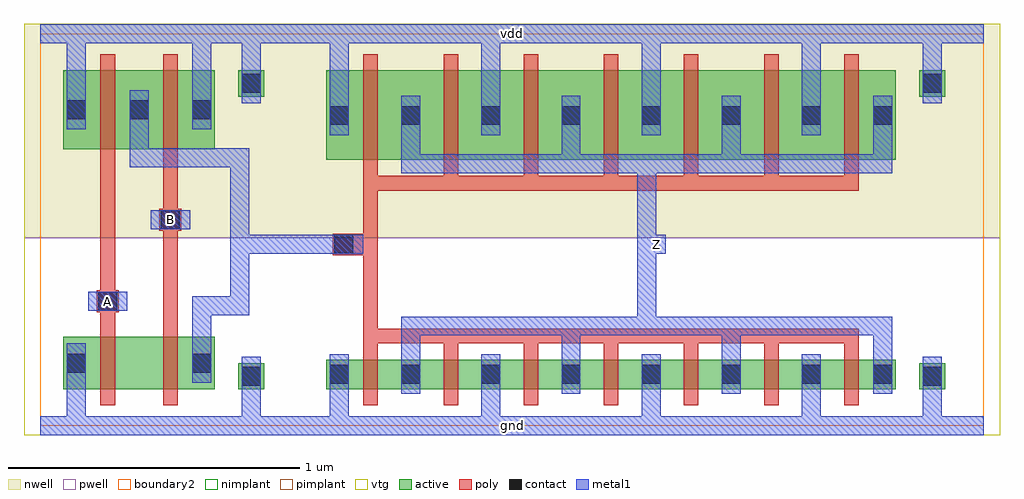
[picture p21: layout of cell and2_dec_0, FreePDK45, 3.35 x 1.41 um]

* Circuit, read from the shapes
.subckt and2_dec_0 A B Z gnd vdd
M1 pnand2_0/nmos_m1_w0_180_sm1_dactive_2/D A gnd gnd nfet w=0.18u l=0.05u
M2 pinv_0_1/A B pnand2_0/nmos_m1_w0_180_sm1_dactive_2/D gnd nfet w=0.18u l=0.05u
M3 Z pinv_0_1/A gnd gnd nfet w=0.1025u l=0.05u m=7
M4 pinv_0_1/A A vdd vdd pfet w=0.27u l=0.05u
M5 vdd B pinv_0_1/A vdd pfet w=0.27u l=0.05u
M6 Z pinv_0_1/A vdd vdd pfet w=0.3075u l=0.05u m=7
.ends

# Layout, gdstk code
import gdstk
lib = gdstk.Library(unit=1e-6, precision=5e-10)
def R(c, l, rs):  # rectangles x0, y0, x1, y1
    for r in rs: c.add(gdstk.rectangle(r[:2], r[2:], *l))
def A(c, l, x, y, w, h, nx, ny, dx, dy):  # array of equal rectangles
    R(c, l, [(x+i*dx, y+j*dy, x+i*dx+w, y+j*dy+h) for i in range(nx) for j in range(ny)])
active = (1, 0)
pwell = (2, 0)
nwell = (3, 0)
nimplant = (4, 0)
pimplant = (5, 0)
vtg = (6, 0)
poly = (9, 0)
contact = (10, 0)
metal1 = (11, 0)
boundary2 = (239, 0)

contact_10 = lib.new_cell('contact_10')
R(contact_10, active, [(0,0.0225,0.09,0.1125)])
R(contact_10, nwell, [(-0.055,-0.0325,0.145,0.1675)])
R(contact_10, pimplant, [(0,0.0225,0.09,0.1125)])
R(contact_10, contact, [(0.0125,0.035,0.0775,0.1)])
R(contact_10, metal1, [(0.0125,0,0.0775,0.135)])
R(contact_10, boundary2, [(-0.055,-0.0325,0.145,0.1675)])

pmos_m1_w0_270_sm1_dm1 = lib.new_cell('pmos_m1_w0_270_sm1_dm1')
R(pmos_m1_w0_270_sm1_dm1, active, [(0,0,0.305,0.27)])
R(pmos_m1_w0_270_sm1_dm1, nwell, [(-0.08,-0.08,0.385,0.35)])
R(pmos_m1_w0_270_sm1_dm1, pimplant, [(0,0,0.305,0.27)])
R(pmos_m1_w0_270_sm1_dm1, vtg, [(-0.08,-0.08,0.385,0.35)])
R(pmos_m1_w0_270_sm1_dm1, poly, [(0.1275,-0.055,0.1775,0.325), (0.1275,-0.055,0.1775,0.325)])
R(pmos_m1_w0_270_sm1_dm1, metal1, [(0.0125,0.0675,0.0775,0.2025), (0.2275,0.0675,0.2925,0.2025)])
R(pmos_m1_w0_270_sm1_dm1, boundary2, [(-0.08,-0.08,0.385,0.35)])
pmos_m1_w0_270_sm1_dm1.add(gdstk.Reference(contact_10, (0,0.0675)))
pmos_m1_w0_270_sm1_dm1.add(gdstk.Reference(contact_10, (0.215,0.0675)))
pmos_m1_w0_270_sm1_dm1.add(gdstk.Label('S', (0.045,0.135), layer=11, texttype=0))
pmos_m1_w0_270_sm1_dm1.add(gdstk.Label('D', (0.26,0.135), layer=11, texttype=0))
pmos_m1_w0_270_sm1_dm1.add(gdstk.Label('G', (0.1525,0.135), layer=9, texttype=0))

contact_9 = lib.new_cell('contact_9')
R(contact_9, active, [(0,0.0225,0.09,0.1125)])
R(contact_9, pwell, [(-0.055,-0.0325,0.145,0.1675)])
R(contact_9, nimplant, [(0,0.0225,0.09,0.1125)])
R(contact_9, contact, [(0.0125,0.035,0.0775,0.1)])
R(contact_9, metal1, [(0.0125,0,0.0775,0.135)])
R(contact_9, boundary2, [(-0.055,-0.0325,0.145,0.1675)])

nmos_m1_w0_180_sm1_dacti = lib.new_cell('nmos_m1_w0_180_sm1_dactive')
R(nmos_m1_w0_180_sm1_dacti, active, [(0,0,0.305,0.18), (0.215,0.045,0.305,0.135)])
R(nmos_m1_w0_180_sm1_dacti, pwell, [(-0.08,-0.08,0.385,0.26)])
R(nmos_m1_w0_180_sm1_dacti, nimplant, [(0,0,0.305,0.18)])
R(nmos_m1_w0_180_sm1_dacti, vtg, [(-0.08,-0.08,0.385,0.26)])
R(nmos_m1_w0_180_sm1_dacti, poly, [(0.1275,-0.055,0.1775,0.235), (0.1275,-0.055,0.1775,0.235)])
R(nmos_m1_w0_180_sm1_dacti, metal1, [(0.0125,0.0225,0.0775,0.1575)])
R(nmos_m1_w0_180_sm1_dacti, boundary2, [(-0.08,-0.08,0.385,0.26)])
nmos_m1_w0_180_sm1_dacti.add(gdstk.Reference(contact_9, (0,0.0225)))
nmos_m1_w0_180_sm1_dacti.add(gdstk.Label('S', (0.045,0.09), layer=11, texttype=0))
nmos_m1_w0_180_sm1_dacti.add(gdstk.Label('D', (0.26,0.09), layer=1, texttype=0))
nmos_m1_w0_180_sm1_dacti.add(gdstk.Label('G', (0.1525,0.09), layer=9, texttype=0))

nmos_m1_w0_180_sactive_d = lib.new_cell('nmos_m1_w0_180_sactive_dm1')
R(nmos_m1_w0_180_sactive_d, active, [(0,0,0.305,0.18), (0,0.045,0.09,0.135)])
R(nmos_m1_w0_180_sactive_d, pwell, [(-0.08,-0.08,0.385,0.26)])
R(nmos_m1_w0_180_sactive_d, nimplant, [(0,0,0.305,0.18)])
R(nmos_m1_w0_180_sactive_d, vtg, [(-0.08,-0.08,0.385,0.26)])
R(nmos_m1_w0_180_sactive_d, poly, [(0.1275,-0.055,0.1775,0.235), (0.1275,-0.055,0.1775,0.235)])
R(nmos_m1_w0_180_sactive_d, metal1, [(0.2275,0.0225,0.2925,0.1575)])
R(nmos_m1_w0_180_sactive_d, boundary2, [(-0.08,-0.08,0.385,0.26)])
nmos_m1_w0_180_sactive_d.add(gdstk.Reference(contact_9, (0.215,0.0225)))
nmos_m1_w0_180_sactive_d.add(gdstk.Label('D', (0.26,0.09), layer=11, texttype=0))
nmos_m1_w0_180_sactive_d.add(gdstk.Label('S', (0.045,0.09), layer=1, texttype=0))
nmos_m1_w0_180_sactive_d.add(gdstk.Label('G', (0.1525,0.09), layer=9, texttype=0))

contact_11 = lib.new_cell('contact_11')
R(contact_11, active, [(0,0.0225,0.09,0.1125)])
R(contact_11, nwell, [(-0.055,-0.0325,0.145,0.1675)])
R(contact_11, nimplant, [(0,0.0225,0.09,0.1125)])
R(contact_11, contact, [(0.0125,0.035,0.0775,0.1)])
R(contact_11, metal1, [(0.0125,0,0.0775,0.135)])
R(contact_11, boundary2, [(-0.055,-0.0325,0.145,0.1675)])

contact_12 = lib.new_cell('contact_12')
R(contact_12, active, [(0,0.0225,0.09,0.1125)])
R(contact_12, pwell, [(-0.055,-0.0325,0.145,0.1675)])
R(contact_12, pimplant, [(0,0.0225,0.09,0.1125)])
R(contact_12, contact, [(0.0125,0.035,0.0775,0.1)])
R(contact_12, metal1, [(0.0125,0,0.0775,0.135)])
R(contact_12, boundary2, [(-0.055,-0.0325,0.145,0.1675)])

contact_13 = lib.new_cell('contact_13')
R(contact_13, poly, [(0.03,0,0.105,0.075)])
R(contact_13, contact, [(0.035,0.005,0.1,0.07)])
R(contact_13, metal1, [(0,0.005,0.135,0.07)])
R(contact_13, boundary2, [(0,0,0.135,0.075)])

pnand2 = lib.new_cell('pnand2')
R(pnand2, pwell, [(-0.055,-0.0325,0.9575,0.645)])
R(pnand2, nwell, [(-0.055,0.645,0.9575,1.38)])
R(pnand2, vtg, [(-0.055,-0.0325,0.9575,0.645), (-0.055,0.645,0.9575,1.38)])
R(pnand2, poly, [(0.2075,0.36,0.2575,0.895), (0.4225,0.36,0.4725,0.895), (0.2075,0.39,0.2325,0.465), (0.4225,0.67,0.4475,0.745)])
R(pnand2, metal1, [(0,-0.0325,0.9025,0.0325), (0.0925,-0.0325,0.1575,0.1475), (0.6925,0,0.7575,0.17), (0.5225,0.2825,0.5875,0.4125), (0.5225,0.38,0.5875,0.445), (0.555,0.38,0.685,0.445), (0.6525,0.38,0.7175,0.445), (0.165,0.395,0.3,0.46), (0.6525,0.4125,0.7175,0.92), (0.38,0.675,0.515,0.74), (0.3075,0.8875,0.3725,0.9525), (0.34,0.8875,0.685,0.9525), (0.6525,0.8875,0.7175,0.9525), (0.3075,0.92,0.3725,1.0175), (0.0925,1.0175,0.1575,1.3775), (0.5225,1.0175,0.5875,1.3775), (0.6925,1.175,0.7575,1.345), (0,1.3125,0.9025,1.3775)])
R(pnand2, boundary2, [(0,0,0.9025,1.345), (0,0,0.9025,1.345)])
pnand2.add(gdstk.Reference(pmos_m1_w0_270_sm1_dm1, (0.08,0.95)))
pnand2.add(gdstk.Reference(pmos_m1_w0_270_sm1_dm1, (0.295,0.95)))
pnand2.add(gdstk.Reference(nmos_m1_w0_180_sm1_dacti, (0.08,0.125)))
pnand2.add(gdstk.Reference(nmos_m1_w0_180_sactive_d, (0.295,0.125)))
pnand2.add(gdstk.Reference(contact_11, (0.68,1.1075)))
pnand2.add(gdstk.Reference(contact_12, (0.68,0.1025)))
pnand2.add(gdstk.Reference(contact_13, (0.165,0.39)))
pnand2.add(gdstk.Reference(contact_13, (0.38,0.67)))
pnand2.add(gdstk.Label('Z', (0.685,0.92), layer=11, texttype=0))
pnand2.add(gdstk.Label('gnd', (0.451,0), layer=11, texttype=0))
pnand2.add(gdstk.Label('vdd', (0.451,1.345), layer=11, texttype=0))
pnand2.add(gdstk.Label('A', (0.2325,0.4275), layer=11, texttype=0))
pnand2.add(gdstk.Label('B', (0.4475,0.7075), layer=11, texttype=0))

pmos_m7_w0_307_sm1_dm1_d = lib.new_cell('pmos_m7_w0_307_sm1_dm1_da_p')
R(pmos_m7_w0_307_sm1_dm1_d, active, [(0,0,1.955,0.3075)])
R(pmos_m7_w0_307_sm1_dm1_d, nwell, [(-0.08,-0.08,2.035,0.3875)])
R(pmos_m7_w0_307_sm1_dm1_d, pimplant, [(0,0,1.955,0.3075)])
R(pmos_m7_w0_307_sm1_dm1_d, vtg, [(-0.08,-0.08,2.035,0.3875)])
A(pmos_m7_w0_307_sm1_dm1_d, poly, 0.1275, -0.055, 0.05, 0.4175, 7, 1, 0.275, 0)
R(pmos_m7_w0_307_sm1_dm1_d, poly, [(0.1275,-0.105,1.8275,-0.055)])
A(pmos_m7_w0_307_sm1_dm1_d, metal1, 0.2575, -0.01, 0.065, 0.165, 3, 1, 0.55, 0)
A(pmos_m7_w0_307_sm1_dm1_d, metal1, 0.5325, 0.085, 0.065, 0.135, 3, 1, 0.55, 0)
R(pmos_m7_w0_307_sm1_dm1_d, metal1, [(0.2575,-0.045,1.9425,0.02), (1.8775,-0.01,1.9425,0.155), (0.0125,0.085,0.0775,0.22)])
R(pmos_m7_w0_307_sm1_dm1_d, boundary2, [(-0.08,-0.105,2.035,0.3875)])
pmos_m7_w0_307_sm1_dm1_d.add(gdstk.Reference(contact_10, (0,0.085)))
pmos_m7_w0_307_sm1_dm1_d.add(gdstk.Reference(contact_10, (0.245,0.085)))
pmos_m7_w0_307_sm1_dm1_d.add(gdstk.Reference(contact_10, (0.52,0.085)))
pmos_m7_w0_307_sm1_dm1_d.add(gdstk.Reference(contact_10, (0.795,0.085)))
pmos_m7_w0_307_sm1_dm1_d.add(gdstk.Reference(contact_10, (1.07,0.085)))
pmos_m7_w0_307_sm1_dm1_d.add(gdstk.Reference(contact_10, (1.345,0.085)))
pmos_m7_w0_307_sm1_dm1_d.add(gdstk.Reference(contact_10, (1.62,0.085)))
pmos_m7_w0_307_sm1_dm1_d.add(gdstk.Reference(contact_10, (1.865,0.085)))
pmos_m7_w0_307_sm1_dm1_d.add(gdstk.Label('S', (0.045,0.1525), layer=11, texttype=0))
pmos_m7_w0_307_sm1_dm1_d.add(gdstk.Label('S', (1.115,0.1525), layer=11, texttype=0))
pmos_m7_w0_307_sm1_dm1_d.add(gdstk.Label('S', (0.565,0.1525), layer=11, texttype=0))
pmos_m7_w0_307_sm1_dm1_d.add(gdstk.Label('S', (1.665,0.1525), layer=11, texttype=0))
pmos_m7_w0_307_sm1_dm1_d.add(gdstk.Label('D', (1.1,-0.0125), layer=11, texttype=0))
pmos_m7_w0_307_sm1_dm1_d.add(gdstk.Label('G', (0.9775,-0.08), layer=9, texttype=0))

nmos_m7_w0_103_sm1_dm1_d = lib.new_cell('nmos_m7_w0_103_sm1_dm1_da_p')
R(nmos_m7_w0_103_sm1_dm1_d, active, [(0,0,1.955,0.1025)])
R(nmos_m7_w0_103_sm1_dm1_d, pwell, [(-0.08,-0.08,2.035,0.1825)])
R(nmos_m7_w0_103_sm1_dm1_d, nimplant, [(0,0,1.955,0.1025)])
R(nmos_m7_w0_103_sm1_dm1_d, vtg, [(-0.08,-0.08,2.035,0.1825)])
A(nmos_m7_w0_103_sm1_dm1_d, poly, 0.1275, -0.055, 0.05, 0.2125, 7, 1, 0.275, 0)
R(nmos_m7_w0_103_sm1_dm1_d, poly, [(0.1275,0.1575,1.8275,0.2075)])
A(nmos_m7_w0_103_sm1_dm1_d, metal1, 0.5325, -0.015, 0.065, 0.135, 3, 1, 0.55, 0)
A(nmos_m7_w0_103_sm1_dm1_d, metal1, 0.2575, 0.05, 0.065, 0.165, 3, 1, 0.55, 0)
R(nmos_m7_w0_103_sm1_dm1_d, metal1, [(0.0125,-0.015,0.0775,0.12), (1.8775,0.05,1.9425,0.215), (0.2575,0.185,1.9425,0.25)])
R(nmos_m7_w0_103_sm1_dm1_d, boundary2, [(-0.08,-0.08,2.035,0.25)])
nmos_m7_w0_103_sm1_dm1_d.add(gdstk.Reference(contact_9, (0,-0.015)))
nmos_m7_w0_103_sm1_dm1_d.add(gdstk.Reference(contact_9, (0.245,-0.015)))
nmos_m7_w0_103_sm1_dm1_d.add(gdstk.Reference(contact_9, (0.52,-0.015)))
nmos_m7_w0_103_sm1_dm1_d.add(gdstk.Reference(contact_9, (0.795,-0.015)))
nmos_m7_w0_103_sm1_dm1_d.add(gdstk.Reference(contact_9, (1.07,-0.015)))
nmos_m7_w0_103_sm1_dm1_d.add(gdstk.Reference(contact_9, (1.345,-0.015)))
nmos_m7_w0_103_sm1_dm1_d.add(gdstk.Reference(contact_9, (1.62,-0.015)))
nmos_m7_w0_103_sm1_dm1_d.add(gdstk.Reference(contact_9, (1.865,-0.015)))
nmos_m7_w0_103_sm1_dm1_d.add(gdstk.Label('S', (0.565,0.0525), layer=11, texttype=0))
nmos_m7_w0_103_sm1_dm1_d.add(gdstk.Label('S', (1.665,0.0525), layer=11, texttype=0))
nmos_m7_w0_103_sm1_dm1_d.add(gdstk.Label('S', (1.115,0.0525), layer=11, texttype=0))
nmos_m7_w0_103_sm1_dm1_d.add(gdstk.Label('S', (0.045,0.0525), layer=11, texttype=0))
nmos_m7_w0_103_sm1_dm1_d.add(gdstk.Label('D', (1.1,0.2175), layer=11, texttype=0))
nmos_m7_w0_103_sm1_dm1_d.add(gdstk.Label('G', (0.9775,0.1825), layer=9, texttype=0))

pinv_0 = lib.new_cell('pinv_0')
R(pinv_0, pwell, [(-0.055,-0.0325,2.3925,0.645)])
R(pinv_0, nwell, [(-0.055,0.645,2.3925,1.38)])
R(pinv_0, vtg, [(-0.055,-0.0325,2.3925,0.645), (-0.055,0.645,2.3925,1.38)])
R(pinv_0, poly, [(0.2075,0.3325,0.2575,0.8075), (0.14,0.585,0.2075,0.66)])
A(pinv_0, metal1, 0.6125, -0.0325, 0.065, 0.1425, 3, 1, 0.55, 0)
A(pinv_0, metal1, 0.6125, 0.9975, 0.065, 0.38, 3, 1, 0.55, 0)
R(pinv_0, metal1, [(0,-0.0325,2.3375,0.0325), (0.0925,-0.0325,0.1575,0.11), (2.1275,0,2.1925,0.17), (1.1475,0.31,1.2125,0.9325), (0.0725,0.59,0.2075,0.655), (1.18,0.59,1.245,0.655), (0.0925,0.9975,0.1575,1.3775), (2.1275,1.175,2.1925,1.345), (0,1.3125,2.3375,1.3775)])
R(pinv_0, boundary2, [(0,0,2.3375,1.345), (0,0,2.3375,1.345)])
pinv_0.add(gdstk.Reference(pmos_m7_w0_307_sm1_dm1_d, (0.08,0.9125)))
pinv_0.add(gdstk.Reference(nmos_m7_w0_103_sm1_dm1_d, (0.08,0.125)))
pinv_0.add(gdstk.Reference(contact_11, (2.115,1.1075)))
pinv_0.add(gdstk.Reference(contact_12, (2.115,0.1025)))
pinv_0.add(gdstk.Reference(contact_13, (0.0725,0.585)))
pinv_0.add(gdstk.Label('A', (0.14,0.6225), layer=11, texttype=0))
pinv_0.add(gdstk.Label('Z', (1.2125,0.6225), layer=11, texttype=0))
pinv_0.add(gdstk.Label('gnd', (1.169,0), layer=11, texttype=0))
pinv_0.add(gdstk.Label('vdd', (1.169,1.345), layer=11, texttype=0))

and2_dec_0 = lib.new_cell('and2_dec_0')
R(and2_dec_0, metal1, [(0,-0.0325,3.24,0.0325), (0.165,0.395,0.3,0.46), (0.6525,0.59,0.7175,0.655), (0.685,0.59,1.0425,0.655), (2.0825,0.59,2.1475,0.655), (0.6525,0.6225,0.7175,0.92), (0.38,0.675,0.515,0.74), (0,1.3125,3.24,1.3775)])
R(and2_dec_0, boundary2, [(0,0,3.24,1.345)])
and2_dec_0.add(gdstk.Reference(pnand2, (0,0)))
and2_dec_0.add(gdstk.Reference(pinv_0, (0.9025,0)))
and2_dec_0.add(gdstk.Label('Z', (2.115,0.6225), layer=11, texttype=0))
and2_dec_0.add(gdstk.Label('A', (0.2325,0.4275), layer=11, texttype=0))
and2_dec_0.add(gdstk.Label('B', (0.4475,0.7075), layer=11, texttype=0))
and2_dec_0.add(gdstk.Label('gnd', (1.62,0), layer=11, texttype=0))
and2_dec_0.add(gdstk.Label('vdd', (1.62,1.345), layer=11, texttype=0))

lib.write_gds('and2_dec_0.gds')
